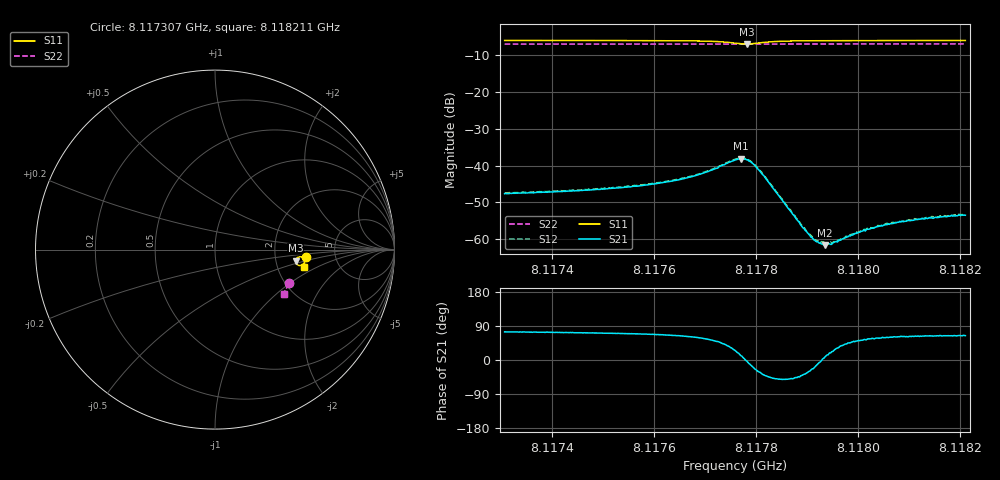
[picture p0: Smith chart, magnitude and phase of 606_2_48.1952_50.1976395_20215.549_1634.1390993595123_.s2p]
#  HZ  S  RI  R  50.00
! Rohde & Schwarz Vector Network Analyzer
! Rohde-Schwarz,ZNB20-2Port,1311601062101988,3.16
! Created: UTC 3/20/2024, 12:03:12 PM
! freq[Hz]  re:S11  im:S11  re:S21  im:S21  re:S12  im:S12  re:S22  im:S22
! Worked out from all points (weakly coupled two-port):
!   401 points, 8.117307 GHz to 8.118211 GHz, reference 50 ohm
!   highest |S21| = -38.15 dB at 8.11777 GHz (marker M1); lowest = -61.6 dB at 8.117935 GHz (marker M2)
!   lowest |S11| = -6.9 dB at 8.117782 GHz (marker M3), VSWR 2.66, Z = 129 - j19.9 ohm
!   |S11| at or under -10 dB: nowhere
!   |S22| runs from -6.9 to -6.8 dB; largest |S21 - S12| = 0.00046
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8.1173069e9  0.5053 -0.0388  0.00112 0.00398  0.00121 0.0041  0.411 -0.1888
8.1174583e9  0.5035 -0.0521  0.00142 0.00435  0.00146 0.00445  0.4067 -0.1987
8.1175352e9  0.5021 -0.0596  0.00171 0.00469  0.00176 0.00481  0.4045 -0.2035
8.1176097e9  0.4995 -0.0682  0.00227 0.00528  0.00233 0.00539  0.4022 -0.2083
8.1176482e9  0.4971 -0.0737  0.00278 0.00577  0.0029 0.00585  0.401 -0.2108
8.1176866e9  0.4922 -0.0802  0.00384 0.00643  0.00401 0.00652  0.3996 -0.2135
8.1177205e9  0.4832 -0.0868  0.00586 0.00696  0.00602 0.00706  0.3982 -0.2155
8.1177589e9  0.4587 -0.0843  0.0108 0.00512  0.0111 0.00508  0.396 -0.2176
8.1177702e9  0.4508 -0.075  0.0121 0.00252  0.0124 0.00271  0.3952 -0.2177
8.1177815e9  0.4488 -0.0611  0.012 -0.000497  0.0124 -0.000532  0.395 -0.2177
8.1177928e9  0.4548 -0.0483  0.0103 -0.00318  0.0105 -0.00328  0.3952 -0.218
8.1178064e9  0.4674 -0.041  0.00735 -0.00452  0.00753 -0.00466  0.3953 -0.2185
8.1178923e9  0.4978 -0.0595  0.0011 -0.000893  0.00115 -0.000961  0.3939 -0.2248
8.1179104e9  0.4988 -0.0629  0.000955 -0.000412  0.000992 -0.000426  0.3934 -0.2259
8.1179217e9  0.4991 -0.065  0.0009 -0.000164  0.000919 -0.000218  0.393 -0.2268
8.1179352e9  0.4992 -0.067  0.00082 0.000112  0.000868 0.000107  0.3925 -0.2276
8.1179397e9  0.4995 -0.0678  0.000828 0.000195  0.000843 0.00021  0.3923 -0.228
8.1179533e9  0.4995 -0.0698  0.000808 0.000392  0.000834 0.000393  0.392 -0.2288
8.1180166e9  0.4995 -0.0776  0.000805 0.00107  0.000787 0.00109  0.3899 -0.2329
8.1180618e9  0.499 -0.0822  0.000791 0.00137  0.000833 0.00142  0.3883 -0.2358
8.1181228e9  0.4983 -0.0881  0.000843 0.00167  0.000875 0.00171  0.3862 -0.2396
8.118211e9  0.4971 -0.0958  0.000911 0.00189  0.000932 0.00196  0.3831 -0.245
